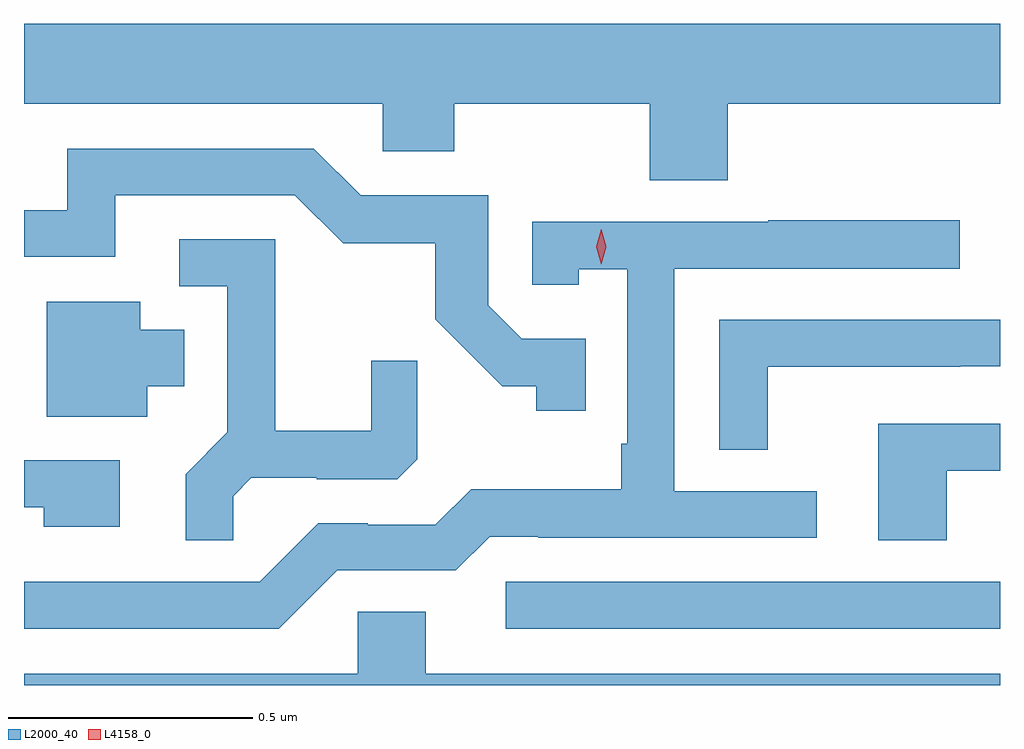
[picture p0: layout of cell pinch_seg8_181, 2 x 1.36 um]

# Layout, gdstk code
import gdstk
lib = gdstk.Library(unit=1e-6, precision=1e-09)
def R(c, l, rs):  # rectangles x0, y0, x1, y1
    for r in rs: c.add(gdstk.rectangle(r[:2], r[2:], *l))
def P(c, l, *ps):  # polygons
    for p in ps: c.add(gdstk.Polygon(p, *l))
L2000_40 = (2000, 40)
L4158_0 = (4158, 0)

pinch_seg8_181 = lib.new_cell('pinch_seg8_181')
R(pinch_seg8_181, L2000_40, [(664.203,1159.38,665.216,1159.476)])
P(pinch_seg8_181, L2000_40, [(664.658,1160.456),(665.216,1160.456),(665.216,1160.62),(663.216,1160.62),(663.216,1160.456),(663.951,1160.456),(663.951,1160.358),(664.098,1160.358),(664.098,1160.456),(664.498,1160.456),(664.498,1160.299),(664.658,1160.299)],
  [(664.367,1159.974),(664.236,1159.974),(664.167,1160.043),(664.167,1160.268),(663.906,1160.268),(663.81,1160.364),(663.305,1160.364),(663.305,1160.238),(663.216,1160.238),(663.216,1160.142),(663.403,1160.142),(663.403,1160.268),(663.771,1160.268),(663.87,1160.17),(664.059,1160.17),(664.059,1160.014),(664.196,1159.877),(664.266,1159.877),(664.266,1159.827),(664.367,1159.827)],
  [(663.858,1159.5),(664.101,1159.5),(664.17,1159.569),(664.27,1159.569),(664.27,1159.566),(664.84,1159.566),(664.84,1159.662),(664.548,1159.662),(664.548,1160.118),(665.134,1160.118),(665.134,1160.217),(664.741,1160.217),(664.741,1160.214),(664.257,1160.214),(664.257,1160.085),(664.353,1160.085),(664.353,1160.117),(664.452,1160.117),(664.452,1159.759),(664.44,1159.759),(664.44,1159.666),(664.132,1159.666),(664.059,1159.593),(663.92,1159.593),(663.92,1159.596),(663.819,1159.596),(663.699,1159.476),(663.216,1159.476),(663.216,1159.38),(663.738,1159.38)],
  [(663.645,1159.652),(663.682,1159.689),(663.816,1159.689),(663.816,1159.686),(663.981,1159.686),(664.022,1159.727),(664.022,1159.929),(663.928,1159.929),(663.928,1159.786),(663.731,1159.786),(663.731,1160.178),(663.534,1160.178),(663.534,1160.082),(663.633,1160.082),(663.633,1159.783),(663.547,1159.697),(663.547,1159.561),(663.645,1159.561)],
  [(663.469,1159.877),(663.544,1159.877),(663.544,1159.993),(663.454,1159.993),(663.454,1160.05),(663.263,1160.05),(663.263,1159.814),(663.469,1159.814)],
  [(664.74,1159.917),(665.135,1159.917),(665.135,1159.918),(665.216,1159.918),(665.216,1160.013),(664.641,1160.013),(664.641,1159.747),(664.74,1159.747)],
  [(665.107,1159.704),(665.216,1159.704),(665.216,1159.8),(664.967,1159.8),(664.967,1159.561),(665.107,1159.561)],
  [(663.412,1159.725),(663.216,1159.725),(663.216,1159.629),(663.256,1159.629),(663.256,1159.589),(663.412,1159.589)],
  [(665.216,1159.288),(664.039,1159.288),(664.039,1159.415),(663.9,1159.415),(663.9,1159.288),(663.216,1159.288),(663.216,1159.264),(665.216,1159.264)])
P(pinch_seg8_181, L4158_0, [(664.399,1160.127),(664.399,1160.127),(664.389,1160.163),(664.399,1160.199),(664.399,1160.199),(664.399,1160.199),(664.409,1160.163),(664.399,1160.127)])

lib.write_gds('pinch_seg8_181.gds')
